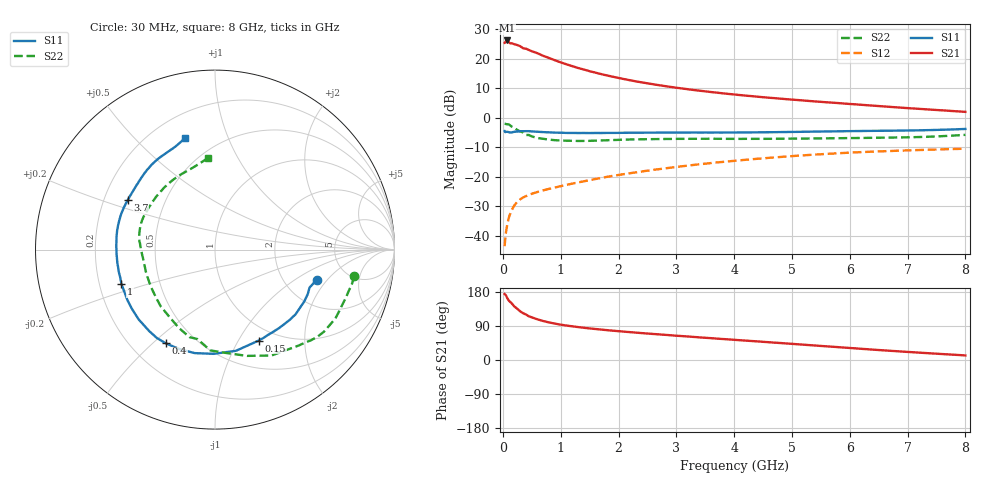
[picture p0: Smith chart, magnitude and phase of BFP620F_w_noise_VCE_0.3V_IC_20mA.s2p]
! Infineon Technologies  Discrete & RF Semiconductors
! BFP620F
! VCE =  0.3 V,  IC =  20 mA
! Common Emitter S-Parameters:  Dec 2014
# GHz  S  MA  R  50
!  f  S11  S21  S12  S22
! GHz  MAG  ANG  MAG  ANG  MAG  ANG  MAG  ANG
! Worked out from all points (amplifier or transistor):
!   95 points, 30 MHz to 8 GHz, reference 50 ohm
!   highest |S21| = 26.2 dB at 70 MHz (marker M1)
!   |S21| within 3 dB of that: start of sweep to 423.6 MHz
!   unconditionally stable (mu >= 1): start of sweep to 31.27 MHz; 2.18 GHz to end of sweep
!   at 300 MHz: K = 0.32, MSG = 26.0 dB, |S12| = -27.7 dB
!   at 3.3 GHz: K = 1.04, MAG = 11.4 dB, |S12| = -16.0 dB
!   at 8 GHz: K = 1.10, MAG = 4.4 dB, |S12| = -10.6 dB
!   lowest NFmin = 0.84 dB at 450 MHz
!   S11 on the Smith chart (normalised r, x): 30 MHz: 3.00, -1.55; 150 MHz: 0.83, -1.22; 400 MHz: 0.34, -0.55; 1 GHz: 0.29, -0.16; 3.7 GHz: 0.30, +0.24; 8 GHz: 0.33, +0.71
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0.03  0.5904 -16.6  18.55 174.2  0.0066 71.7  0.7897 -10.8
0.04  0.5678 -21.9  18.7 172.9  0.0086 72.2  0.7866 -14.1
0.05  0.5731 -25.6  19.76 171.1  0.0107 71.1  0.7798 -17.3
0.07  0.5738 -34.3  20.39 165.2  0.0141 70.3  0.7731 -23.3
0.09  0.5719 -42.9  19.83 159.7  0.0176 71.8  0.7728 -29.8
0.12  0.5613 -54.6  18.38 154.0  0.0225 66.6  0.7496 -40.4
0.15  0.5623 -64.3  18.32 149.8  0.0266 62.9  0.7093 -48.9
0.2  0.5758 -78.3  17.58 141.1  0.0327 59.4  0.6689 -61.9
0.3  0.5878 -101.2  16.29 128.4  0.0411 51.9  0.5812 -83.2
0.35  0.5888 -109.9  15.06 123.5  0.0442 49.6  0.562 -92.7
0.4  0.5896 -117.6  14.79 120.0  0.0466 47.9  0.5079 -101.1
0.5  0.5837 -128.8  13.4 112.6  0.0511 46.4  0.4809 -114.6
0.7  0.5684 -144.6  11.16 102.7  0.0585 45.9  0.4373 -133.8
1  0.5554 -159.8  8.664 93.3  0.0688 47.0  0.4094 -153.1
1.4  0.549 -172.7  6.55 85.0  0.0832 48.6  0.4028 -170.0
2  0.5516 174.3  4.719 76.1  0.1066 49.2  0.4199 175.0
2.7  0.5577 163.3  3.554 67.6  0.1336 47.4  0.4331 165.6
3.7  0.5593 150.5  2.655 56.5  0.1737 42.5  0.4378 154.8
4.1  0.5609 145.7  2.415 52.2  0.1888 40.1  0.4359 150.2
5.4  0.5802 132.3  1.885 38.2  0.2363 30.7  0.4435 133.1
6.7  0.6003 118.8  1.522 24.3  0.2717 20.1  0.4591 115.0
8  0.6429 105.3  1.253 12.0  0.2968 10.0  0.5108 94.6
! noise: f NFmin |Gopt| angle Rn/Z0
0.45  0.84  0.05  2  0.21
0.9  0.9  0.04  6  0.18
1.5  0.94  0.04  8  0.15
1.8  0.96  0.04  9  0.15
1.9  0.97  0.01  28  0.15
2.4  1.01  0.01  88  0.15
3.5  1.08  0.04  -178  0.15
5.5  1.22  0.15  230  0.1
6  1.25  0.15  253  0.14
